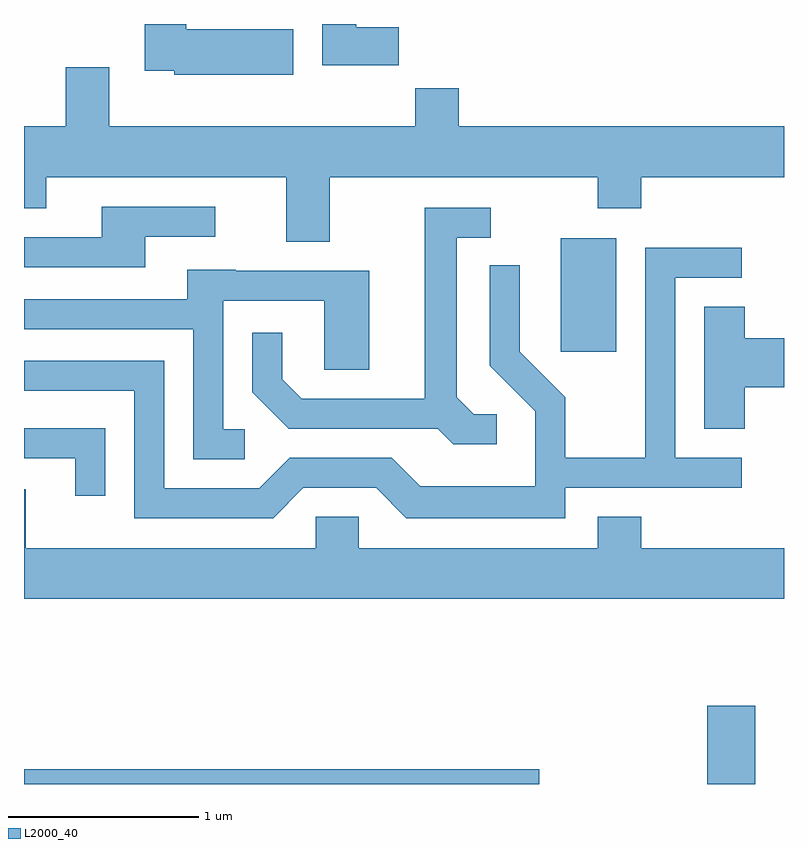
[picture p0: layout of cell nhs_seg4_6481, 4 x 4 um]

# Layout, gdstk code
import gdstk
lib = gdstk.Library(unit=1e-6, precision=1e-09)
def R(c, l, rs):  # rectangles x0, y0, x1, y1
    for r in rs: c.add(gdstk.rectangle(r[:2], r[2:], *l))
def P(c, l, *ps):  # polygons
    for p in ps: c.add(gdstk.Polygon(p, *l))
L2000_40 = (2000, 40)

nhs_seg4_6481 = lib.new_cell('nhs_seg4_6481')
R(nhs_seg4_6481, L2000_40, [(375.611,1295.982,378.324,1296.059), (379.206,1295.982,379.459,1296.394), (378.436,1298.256,378.729,1298.854)])
P(nhs_seg4_6481, L2000_40, [(377.029,1299.954),(376.464,1299.954),(376.464,1299.982),(376.246,1299.982),(376.246,1299.736),(376.401,1299.736),(376.401,1299.716),(377.029,1299.716)],
  [(377.584,1299.964),(377.359,1299.964),(377.359,1299.982),(377.181,1299.982),(377.181,1299.766),(377.584,1299.766)],
  [(377.219,1299.176),(378.631,1299.176),(378.631,1299.011),(378.859,1299.011),(378.859,1299.176),(379.611,1299.176),(379.611,1299.444),(377.899,1299.444),(377.899,1299.644),(377.671,1299.644),(377.671,1299.444),(376.059,1299.444),(376.059,1299.754),(375.831,1299.754),(375.831,1299.444),(375.611,1299.444),(375.611,1299.011),(375.729,1299.011),(375.729,1299.176),(376.991,1299.176),(376.991,1298.836),(377.219,1298.836)],
  [(376.249,1298.861),(376.618,1298.861),(376.618,1299.019),(376.021,1299.019),(376.021,1298.859),(375.611,1298.859),(375.611,1298.701),(376.249,1298.701)],
  [(378.098,1297.929),(377.977,1297.929),(377.889,1298.017),(377.889,1298.856),(378.068,1298.856),(378.068,1299.014),(377.721,1299.014),(377.721,1298.009),(377.072,1298.009),(376.969,1298.112),(376.969,1298.358),(376.811,1298.358),(376.811,1298.044),(377.004,1297.851),(377.789,1297.851),(377.869,1297.771),(378.098,1297.771)],
  [(377.082,1297.541),(377.464,1297.541),(377.624,1297.381),(378.459,1297.381),(378.459,1297.541),(379.388,1297.541),(379.388,1297.699),(379.039,1297.699),(379.039,1298.646),(379.388,1298.646),(379.388,1298.804),(378.881,1298.804),(378.881,1297.699),(378.459,1297.699),(378.459,1298.017),(378.219,1298.257),(378.219,1298.713),(378.061,1298.713),(378.061,1298.184),(378.301,1297.944),(378.301,1297.549),(377.697,1297.549),(377.547,1297.699),(377.009,1297.699),(376.849,1297.539),(376.349,1297.539),(376.349,1298.209),(375.611,1298.209),(375.611,1298.051),(376.191,1298.051),(376.191,1297.381),(376.922,1297.381)],
  [(376.773,1297.849),(376.659,1297.849),(376.659,1298.526),(377.191,1298.526),(377.191,1298.161),(377.429,1298.161),(377.429,1298.684),(376.725,1298.684),(376.725,1298.689),(376.471,1298.689),(376.471,1298.534),(375.611,1298.534),(375.611,1298.376),(376.501,1298.376),(376.501,1297.691),(376.773,1297.691)],
  [(379.404,1298.071),(379.611,1298.071),(379.611,1298.329),(379.404,1298.329),(379.404,1298.494),(379.191,1298.494),(379.191,1297.851),(379.404,1297.851)],
  [(376.039,1297.854),(375.611,1297.854),(375.611,1297.696),(375.881,1297.696),(375.881,1297.498),(376.039,1297.498)],
  [(379.611,1297.224),(378.859,1297.224),(378.859,1297.389),(378.631,1297.389),(378.631,1297.224),(377.374,1297.224),(377.374,1297.389),(377.146,1297.389),(377.146,1297.224),(375.619,1297.224),(375.619,1297.534),(375.611,1297.534),(375.611,1296.956),(379.611,1296.956)])

lib.write_gds('nhs_seg4_6481.gds')
